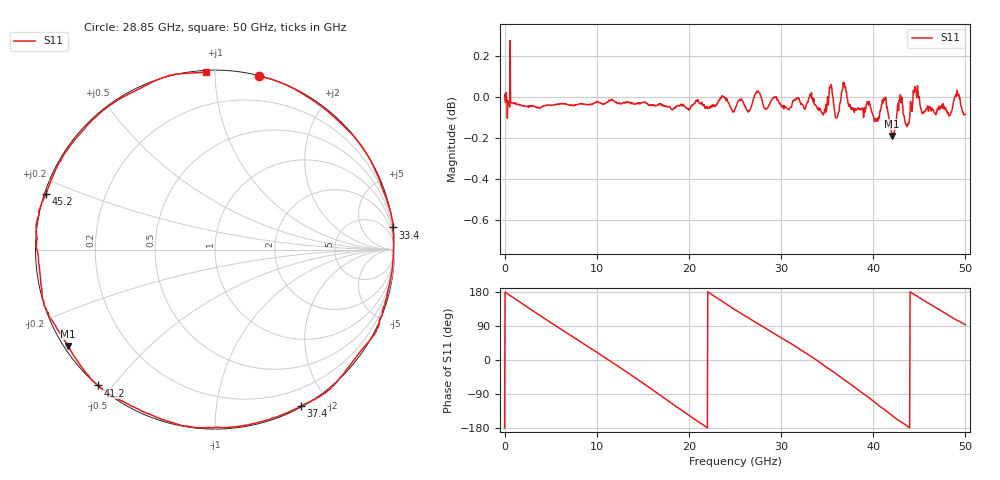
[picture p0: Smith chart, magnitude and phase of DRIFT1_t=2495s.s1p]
!Created with skrf (http://scikit-rf.org).
# Hz S RI R 50.0
!freq ReS11 ImS11
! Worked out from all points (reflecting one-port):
!   1001 points, 300 kHz to 50 GHz, reference 50 ohm
!   lowest |S11| = -0.2 dB at 42.05 GHz (marker M1), VSWR 91.66, Z = 0.594 - j14.9 ohm
!   phase of S11 starts at -180 deg and turns -808 deg over the sweep
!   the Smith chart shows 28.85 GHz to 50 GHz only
!   S11 on the Smith chart (normalised r, x): 28.85 GHz: 0.00, +1.28; 33.4 GHz: 0, +16; 37.4 GHz: 0.01, -1.69; 41.2 GHz: 0.00, -0.46; 45.2 GHz: 0.00, +0.16; 50 GHz: 0.01, +0.95
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300000  -1.001 -0.00798
1.65029e9  -0.8867 0.4522
3.450279e9  -0.5505 0.8281
6.250262e9  0.1902 0.978
9.600242e9  0.8905 0.4466
1.250022e10  0.9391 -0.3335
1.400022e10  0.715 -0.6935
1.58502e10  0.2558 -0.9621
1.73002e10  -0.1726 -0.9801
1.875019e10  -0.5717 -0.8148
2.045018e10  -0.8919 -0.4426
2.185017e10  -0.9928 -0.0596
2.345016e10  -0.923 0.3829
2.500015e10  -0.6732 0.7306
2.710014e10  -0.1983 0.9806
2.885013e10  0.2432 0.9673
3.125011e10  0.7573 0.6489
3.34001e10  0.9917 0.1233
3.545009e10  0.8906 -0.4674
3.740008e10  0.4779 -0.8723
3.750008e10  0.4487 -0.8879
3.940006e10  -0.1208 -0.9897
4.120005e10  -0.6507 -0.757
4.205005e10  -0.8181 -0.5367
4.375004e10  -0.9827 -0.0734
4.520003e10  -0.9425 0.3121
4.765001e10  -0.5808 0.8082
5e10  -0.05 0.9891
